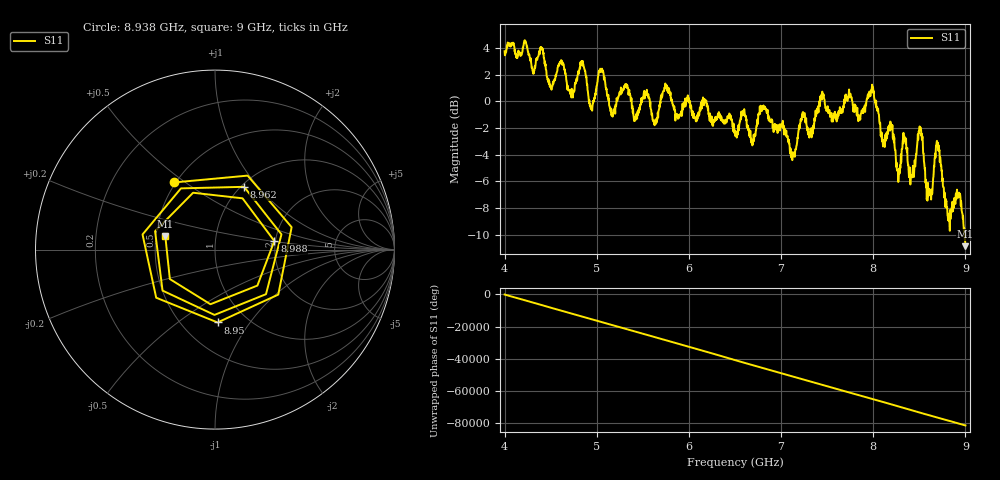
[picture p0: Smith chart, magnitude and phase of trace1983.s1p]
! Created with skrf 1.8.0 (http://scikit-rf.org).
# Hz S RI R 50.0
!freq ReS11 ImS11
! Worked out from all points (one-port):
!   1601 points, 4 GHz to 9 GHz, reference 50 ohm
!   lowest |S11| = -10.9 dB at 9 GHz (marker M1), VSWR 1.80, Z = 28.1 + j4.52 ohm
!   |S11| at or under -10 dB: 8.990182 GHz to end of sweep
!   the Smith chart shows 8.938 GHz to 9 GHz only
!   S11 on the Smith chart (normalised r, x): 8.938 GHz: 0.49, +0.45; 8.95 GHz: 0.73, -0.71; 8.962 GHz: 1.03, +0.85; 8.988 GHz: 1.97, +0.21; 9 GHz: 0.56, +0.09
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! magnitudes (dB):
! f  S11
! 4 GHz  3.8
! 4.506 GHz  1.0
! 4.625 GHz  2.7
! 4.725 GHz  0.3
! 4.847 GHz  3.0
! 4.938 GHz  -0.6
! 5.044 GHz  2.2
! 5.162 GHz  -1.0
! 5.25 GHz  0.7
! 5.875 GHz  -1.2
! 6.5 GHz  -2.3
! 6.803 GHz  -0.5
! 7.125 GHz  -3.8
! 7.234 GHz  -0.8
! 7.75 GHz  0.6
! 7.991 GHz  0.8
! 8.269 GHz  -5.3
! 8.375 GHz  -4.6
! 8.428 GHz  -5.2
! 8.509 GHz  -1.9
! 8.606 GHz  -6.6
! 8.694 GHz  -3.0
! 8.819 GHz  -8.4
! 8.938 GHz  -7.2
! 8.95 GHz  -7.8
! 8.962 GHz  -8.3
! 8.988 GHz  -9.5
! 9 GHz  -10.9
